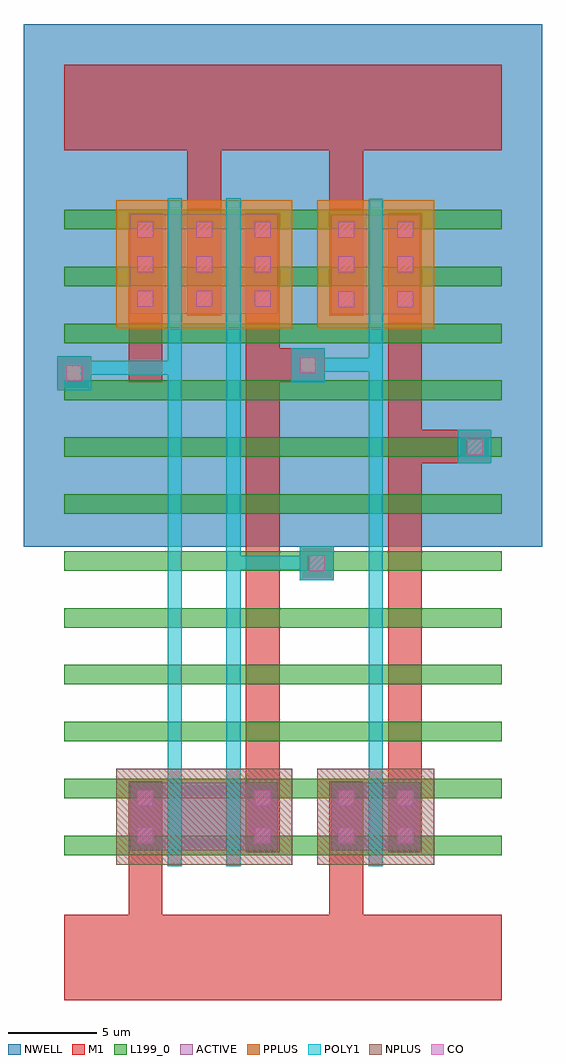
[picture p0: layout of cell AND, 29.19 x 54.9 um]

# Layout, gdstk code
from math import pi, radians
import gdstk
lib = gdstk.Library(unit=1e-6, precision=1e-08)
def R(c, l, rs):  # rectangles x0, y0, x1, y1
    for r in rs: c.add(gdstk.rectangle(r[:2], r[2:], *l))
def A(c, l, x, y, w, h, nx, ny, dx, dy):  # array of equal rectangles
    R(c, l, [(x+i*dx, y+j*dy, x+i*dx+w, y+j*dy+h) for i in range(nx) for j in range(ny)])
ACTIVE = (10, 0)
NWELL = (20, 0)
NPLUS = (25, 0)
PPLUS = (26, 0)
POLY1 = (30, 0)
CO = (35, 0)
M1 = (40, 0)
L199_0 = (199, 0)

pmos_1 = lib.new_cell('pMOS$1')
R(pmos_1, ACTIVE, [(-2.5,-2.8,-0.8,2.8), (-1.4,-2.8,1.4,2.8), (0.8,-2.8,2.5,2.8)])
R(pmos_1, NWELL, [(-4.9,-5.2,4.9,5.2)])
R(pmos_1, PPLUS, [(-3.3,-3.6,3.3,3.6)])
R(pmos_1, POLY1, [(-0.4,-3.7,0.4,3.7)])
A(pmos_1, CO, -2.1, -2.4, 0.9, 0.9, 1, 3, 0, 1.95)
A(pmos_1, CO, 1.2, -2.4, 0.9, 0.9, 1, 3, 0, 1.95)
R(pmos_1, M1, [(-2.6,-2.9,-0.7,2.9), (0.7,-2.9,2.6,2.9)])

nmos_1 = lib.new_cell('nMOS$1')
R(nmos_1, ACTIVE, [(-2.5,-1.9,-0.8,1.9), (-1.4,-1.9,1.4,1.9), (0.8,-1.9,2.5,1.9)])
R(nmos_1, NPLUS, [(-3.3,-2.7,3.3,2.7)])
R(nmos_1, POLY1, [(-0.4,-2.8,0.4,2.8)])
R(nmos_1, CO, [(-2.1,-1.5,-1.2,-0.6), (1.2,-1.5,2.1,-0.6), (-2.1,0.6,-1.2,1.5), (1.2,0.6,2.1,1.5)])
R(nmos_1, M1, [(-2.6,-2,-0.7,2), (0.7,-2,2.6,2)])

nmos = lib.new_cell('nMOS')
R(nmos, ACTIVE, [(-1.4,-1.9,1.4,1.9), (0.8,-1.9,2.5,1.9)])
R(nmos, NPLUS, [(-2.2,-2.7,3.3,2.7)])
R(nmos, POLY1, [(-0.4,-2.8,0.4,2.8)])
R(nmos, CO, [(1.2,-1.5,2.1,-0.6), (1.2,0.6,2.1,1.5)])
R(nmos, M1, [(0.7,-2,2.6,2)])

nmos_2 = lib.new_cell('nMOS$2')
R(nmos_2, ACTIVE, [(-2.5,-1.9,-0.8,1.9), (-1.4,-1.9,1.4,1.9)])
R(nmos_2, NPLUS, [(-3.3,-2.7,2.2,2.7)])
R(nmos_2, POLY1, [(-0.4,-2.8,0.4,2.8)])
R(nmos_2, CO, [(-2.1,-1.5,-1.2,-0.6), (-2.1,0.6,-1.2,1.5)])
R(nmos_2, M1, [(-2.6,-2,-0.7,2)])

contactpoly1 = lib.new_cell('ContactPoly1')
R(contactpoly1, POLY1, [(-0.95,-0.95,0.95,0.95)])
R(contactpoly1, CO, [(-0.45,-0.45,0.45,0.45)])
R(contactpoly1, M1, [(-0.95,-0.95,0.95,0.95)])

rails = lib.new_cell('RAILS')
R(rails, NWELL, [(-7.3,-0.8,7.3,28.6)])
R(rails, M1, [(-5,-26.3,5,-21.5), (-5,21.5,5,26.3)])
A(rails, L199_0, -5, -18.15, 10, 1.1, 1, 12, 0, 3.2)

and_ = lib.new_cell('AND')
R(and_, ACTIVE, [(-6.65,-32.81,-5.49,-30.76), (-6.4,-30.87,-5.49,-29.01)])
R(and_, POLY1, [(3.33,-29.11,4.13,-2.37), (-7.97,-28.72,-7.17,-6.7), (-4.67,-28.21,-3.87,-1.91), (-4.47,-17.03,0.32,-16.23), (0.08,-5.88,4.13,-5.08)])
R(and_, M1, [(-10.17,-38,-8.27,-31.4), (1.13,-37.46,3.03,-30.98), (-3.57,-29.6,-1.67,1.24), (4.43,-28.97,6.33,-0.17), (4.59,-11.04,8.99,-9.14), (-10.17,-6.46,-8.27,-1.16), (-3.46,-6.46,0.79,-4.56), (1.13,-0.91,3.03,8.36), (-6.87,-0.51,-4.97,8.17)])
and_.add(gdstk.FlexPath([(-7.57,-3.37),(-7.57,-7.83)], 0.8, ends="flush", simple_path=True, layer=30, datatype=0))  # POLY1
and_.add(gdstk.FlexPath([(-12.87,-5.65),(-7.17,-5.65),(-7.17,-5.65)], 0.8, ends="flush", simple_path=True, layer=30, datatype=0))  # POLY1
and_.add(gdstk.Reference(pmos_1, (3.73,0.16)))
and_.add(gdstk.Reference(nmos_1, (3.73,-30.91)))
and_.add(gdstk.Reference(nmos, (-4.27,-30.91)))
and_.add(gdstk.Reference(nmos_2, (-7.57,-30.91)))
and_.add(gdstk.Reference(pmos_1, (-4.27,0.17)))
and_.add(gdstk.Reference(contactpoly1, (-0.08,-5.51)))
and_.add(gdstk.Reference(contactpoly1, (-13.22,-5.96)))
and_.add(gdstk.Reference(contactpoly1, (0.42,-16.65)))
and_.add(gdstk.Reference(rails, (5.81,-14.92)))
and_.add(gdstk.Reference(rails, (-1.54,-14.92)))
and_.add(gdstk.Reference(rails, (-8.78,-14.92)))
and_.add(gdstk.Reference(contactpoly1, (9.29,-10.09), rotation=pi/2))
and_.add(gdstk.Reference(pmos_1, (-7.57,0.17)))

lib.write_gds('AND.gds')
